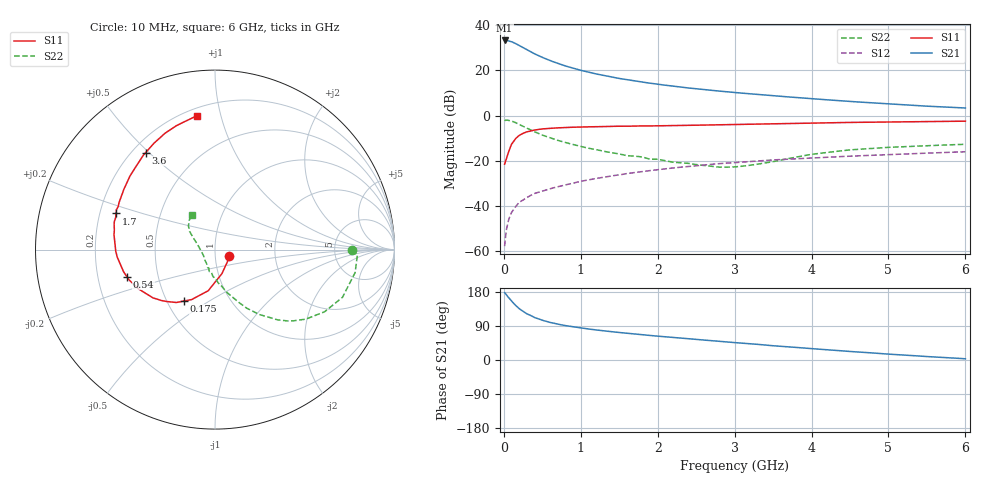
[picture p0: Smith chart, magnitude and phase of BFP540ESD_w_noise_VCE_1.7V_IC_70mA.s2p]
! Infineon Technologies  Discrete & RF Semiconductors
! BFP540ESD
! VCE =  1.7 V,  IC =  70 mA
! Common Emitter S-Parameters:  Nov 2015
# GHz  S  MA  R  50
!  f  S11  S21  S12  S22
! GHz  MAG  ANG  MAG  ANG  MAG  ANG  MAG  ANG
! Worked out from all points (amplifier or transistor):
!   210 points, 10 MHz to 6 GHz, reference 50 ohm
!   highest |S21| = 33.2 dB at 10 MHz (marker M1)
!   |S21| within 3 dB of that: start of sweep to 241 MHz
!   unconditionally stable (mu >= 1): start of sweep to 47.96 MHz; 869.8 MHz to end of sweep
!   at 185 MHz: K = 0.59, MSG = 35.1 dB, |S12| = -38.9 dB
!   at 1.52 GHz: K = 1.13, MAG = 19.0 dB, |S12| = -26.1 dB
!   at 6 GHz: K = 1.16, MAG = 7.2 dB, |S12| = -16.0 dB
!   lowest NFmin = 2.19 dB at 900 MHz
!   S11 on the Smith chart (normalised r, x): 10 MHz: 1.16, -0.09; 175 MHz: 0.61, -0.39; 540 MHz: 0.33, -0.13; 1.7 GHz: 0.27, +0.16; 3.6 GHz: 0.25, +0.49; 6 GHz: 0.25, +0.84
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0.01  0.0845 -26.0  45.73 177.9  0.0013 117.7  0.7635 -0.2
0.05  0.1391 -73.8  45.37 167.6  0.0042 82.8  0.7912 -9.3
0.1  0.2321 -99.3  42.99 155.3  0.0072 78.6  0.7585 -20.5
0.15  0.307 -115.0  39.35 144.5  0.0095 70.4  0.7017 -29.6
0.175  0.3345 -121.1  37.29 140.2  0.0108 68.3  0.6681 -33.3
0.2  0.3652 -126.2  35.46 135.4  0.0121 66.7  0.6376 -37.4
0.24  0.3974 -133.4  32.44 129.5  0.0133 65.0  0.5907 -42.2
0.3  0.4378 -142.1  28.48 121.7  0.0155 65.1  0.5242 -48.3
0.4  0.4792 -152.8  23.14 112.0  0.019 60.3  0.4376 -55.7
0.5  0.5077 -160.6  19.32 104.7  0.0214 61.8  0.3707 -61.6
0.54  0.5136 -163.0  18.13 102.7  0.0225 62.1  0.3508 -63.1
0.7  0.5353 -171.6  14.24 94.6  0.0268 62.4  0.2836 -69.5
0.8  0.5464 -175.7  12.49 90.7  0.0294 62.8  0.253 -73.7
1.02  0.5592 176.5  9.828 84.0  0.0358 62.4  0.2036 -80.4
1.3  0.571 169.1  7.685 76.9  0.0432 61.7  0.1623 -88.4
1.7  0.587 159.9  5.825 68.5  0.0549 60.1  0.1273 -103.9
2.02  0.5959 153.4  4.874 62.6  0.0641 58.1  0.1068 -112.7
3.1  0.6382 133.8  3.129 44.4  0.0939 48.7  0.0761 -170.9
3.6  0.6643 125.6  2.663 36.2  0.1068 43.7  0.1038 162.8
4.1  0.6869 118.5  2.295 28.5  0.1176 39.0  0.1461 149.5
5.1  0.7253 106.3  1.773 14.3  0.1389 29.6  0.202 136.8
6  0.7524 97.8  1.471 3.2  0.1586 22.4  0.2322 124.1
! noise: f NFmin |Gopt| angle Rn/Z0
0.9  2.19  0.56  -140  0.19
1.8  2.37  0.58  -141  0.19
2.4  2.45  0.6  -131  0.27
3  2.62  0.61  -121  0.38
4  2.73  0.68  -101  0.74
5  2.88  0.76  -86  1.12
6  3.49  0.68  -82  1.8
